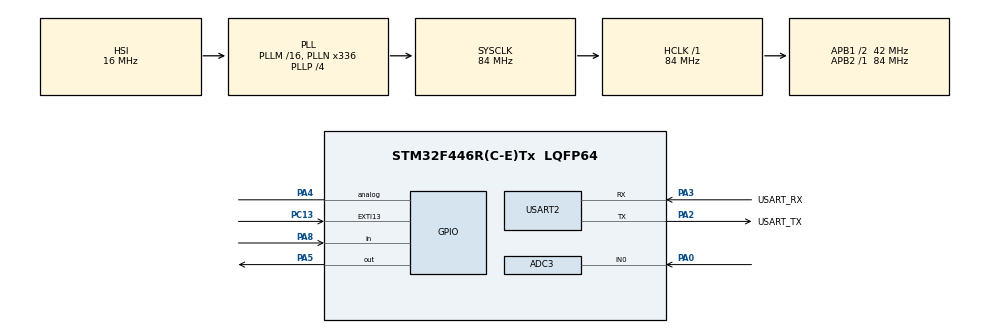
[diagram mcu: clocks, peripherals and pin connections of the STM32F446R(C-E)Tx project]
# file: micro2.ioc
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ADC3.Channel-1\#ChannelRegularConversion=ADC_CHANNEL_0
ADC3.NbrOfConversionFlag=1
ADC3.Rank-1\#ChannelRegularConversion=1
ADC3.SamplingTime-1\#ChannelRegularConversion=ADC_SAMPLETIME_3CYCLES
Mcu.Family=STM32F4
Mcu.Name=STM32F446R(C-E)Tx
Mcu.Package=LQFP64
NVIC.EXTI15_10_IRQn=true\:0\:0\:false\:false\:true\:true\:true\:true
NVIC.PriorityGroup=NVIC_PRIORITYGROUP_0
NVIC.USART2_IRQn=true\:0\:0\:false\:false\:true\:true\:true\:true
PA0-WKUP.Signal=ADCx_IN0
PA13.GPIO_Label=TMS
PA13.Mode=Serial_Wire
PA13.Signal=SYS_JTMS-SWDIO
PA14.GPIO_Label=TCK
PA14.Mode=Serial_Wire
PA14.Signal=SYS_JTCK-SWCLK
PA2.GPIO_Label=USART_TX
PA2.Mode=Asynchronous
PA2.Signal=USART2_TX
PA3.GPIO_Label=USART_RX
PA3.Mode=Asynchronous
PA3.Signal=USART2_RX
PA4.Signal=GPIO_Analog
PA5.Signal=GPIO_Output
PA8.Signal=GPIO_Input
PB3.GPIO_Label=SWO
PB3.Signal=SYS_JTDO-SWO
PC13.GPIO_ModeDefaultEXTI=GPIO_MODE_IT_FALLING
PC13.Signal=GPXTI13
PC14-OSC32_IN.Mode=LSE-External-Oscillator
PC14-OSC32_IN.Signal=RCC_OSC32_IN
PC15-OSC32_OUT.Mode=LSE-External-Oscillator
PC15-OSC32_OUT.Signal=RCC_OSC32_OUT
PH0-OSC_IN.Mode=HSE-External-Oscillator
PH0-OSC_IN.Signal=RCC_OSC_IN
PH1-OSC_OUT.Mode=HSE-External-Oscillator
PH1-OSC_OUT.Signal=RCC_OSC_OUT
ProjectManager.HeapSize=0x200
ProjectManager.StackSize=0x400
ProjectManager.TargetToolchain=STM32CubeIDE
RCC.48MHZClocksFreq_Value=84000000
RCC.AHBFreq_Value=84000000
RCC.APB1CLKDivider=RCC_HCLK_DIV2
RCC.APB1Freq_Value=42000000
RCC.APB1TimFreq_Value=84000000
RCC.APB2Freq_Value=84000000
RCC.APB2TimFreq_Value=84000000
RCC.CortexFreq_Value=84000000
RCC.FLatency-AdvancedSettings=FLASH_LATENCY_2
RCC.HCLKFreq_Value=84000000
RCC.HSE_VALUE=8000000
RCC.HSI_VALUE=16000000
RCC.PLLN=336
RCC.PLLP=RCC_PLLP_DIV4
RCC.SYSCLKFreq_VALUE=84000000
RCC.SYSCLKSource=RCC_SYSCLKSOURCE_PLLCLK
RCC.USBFreq_Value=168000000
RCC.VCOOutputFreq_Value=336000000
SH.ADCx_IN0.0=ADC3_IN0,IN0
USART2.VirtualMode=VM_ASYNC
board=NUCLEO-F446RE

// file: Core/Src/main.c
/* USER CODE BEGIN Header */
/**
  ******************************************************************************
  * @file           : main.c
  * @brief          : Main program body
  ******************************************************************************
  * @attention
  *
  * Copyright (c) 2024 STMicroelectronics.
  * All rights reserved.
  *
  * This software is licensed under terms that can be found in the LICENSE file
  * in the root directory of this software component.
  * If no LICENSE file comes with this software, it is provided AS-IS.
  *
  ******************************************************************************
  */
/* USER CODE END Header */
#include "main.h"

/* USER CODE BEGIN Includes */
#include <stdio.h>
#include <string.h>
#include <ctype.h>
/* USER CODE END Includes */

/* USER CODE BEGIN PD */
#define DOT_THRESHOLD   110     // Adjust according to your requirements
#define DASH_THRESHOLD  310     // Adjust according to your requirements
#define PAUSE_THRESHOLD 1000
#define PAUSE_THRESHOLD_HIGH 1050
#define PAUSE_THRESHOLD_LOW 950
#define GAP_THRESHOLD 1310
#define THRESHOLD_low (uint16_t)1300
#define THRESHOLD_high (uint16_t)1700
/* USER CODE END PD */

ADC_HandleTypeDef hadc3;

UART_HandleTypeDef huart2;

/* USER CODE BEGIN PV */
char rx_buffer[100] = "";

uint16_t adc_value = 0;
uint8_t received_byte = 0;
uint32_t startTime=0;
uint32_t notStartTime=0;
uint32_t endTime= 0;
uint32_t duration=0;

int MODE=0;
int rx_index =0;

int haveConverted = 0;

/* USER CODE END PV */

void SystemClock_Config(void);
static void MX_GPIO_Init(void);
static void MX_USART2_UART_Init(void);
static void MX_ADC3_Init(void);
/* USER CODE BEGIN PFP */
void decodeMorse(char* , int );
int isSoundSignalDetected();
int isLedSignalDetected();
/* USER CODE END PFP */

/* USER CODE BEGIN 0 */
#ifdef __GNUC__
/* With GCC/RAISONANCE, small printf (option LD Linker->Libraries->Small
printf
 set to 'Yes') calls __io_putchar() */
#define PUTCHAR_PROTOTYPE int __io_putchar(int ch)
#else
#define PUTCHAR_PROTOTYPE int fputc(int ch, FILE *f)
#endif /* __GNUC__ */
/* USER CODE END 0 */

int main(void)
{

  /* MCU Configuration--------------------------------------------------------*/

  /* Reset of all peripherals, Initializes the Flash interface and the Systick. */
  HAL_Init();

  /* Configure the system clock */
  SystemClock_Config();

  /* Initialize all configured peripherals */
  MX_GPIO_Init();
  MX_USART2_UART_Init();
  MX_ADC3_Init();
  /* USER CODE BEGIN 2 */
  printf("The program has correctly been loaded.\r\n");
  /* USER CODE END 2 */

  /* Infinite loop */
  /* USER CODE BEGIN WHILE */
  uint16_t led=1;
  while (1)
      {
	  if(MODE==1){ //Sound mode
		  notStartTime = HAL_GetTick();
		  int silence_duration = notStartTime - endTime;
		  if (!haveConverted && (silence_duration >= 2000 || rx_index >= sizeof(rx_buffer)))
		  {

			  // Decode the Morse code character
			  decodeMorse(rx_buffer, rx_index);
			  // Reset the message buffer index

			  for(int i=0;i<rx_index;i++){
				  rx_buffer[i] = '\0';
			  }
			  rx_index = 0;
			  haveConverted = 1;
		  }
		  /* Check for sound signal */
		  if (isSoundSignalDetected()) {
			  haveConverted = 0;
			  /* Record start time of signal */

			  if(silence_duration>500){
				  startTime = notStartTime;
			  } else {
				  rx_index--;
			  }
			  while (adc_value < THRESHOLD_low || adc_value > THRESHOLD_high) {
				  // Check if sound signal ended
				HAL_ADC_Start(&hadc3);
				HAL_ADC_PollForConversion(&hadc3, HAL_MAX_DELAY);
				adc_value = HAL_ADC_GetValue(&hadc3);//* (5.0 / 1023.0);
			  }

			  /* Record end time of signal */
			  endTime = HAL_GetTick();

			  /* Calculate duration of signal */
			  duration = (endTime - startTime);

			  /* test if the silence represent a pause between 2 characters*/
			  if (silence_duration > PAUSE_THRESHOLD_LOW && silence_duration < PAUSE_THRESHOLD_HIGH)
			  {
				  rx_buffer[rx_index] = ' ';
				  rx_index++;
			  }
			  /* test if the silence represent a pause between 2 words */
			  else if (silence_duration > PAUSE_THRESHOLD_HIGH && rx_index!=0)
			  {
				  rx_buffer[rx_index] = '/';
				  rx_index++;
			  }

			  /* test if the duration of the signal represent a dot*/
			  if (duration < DOT_THRESHOLD)
			  {
				  rx_buffer[rx_index] = '.';
				  rx_index++;
			  }
			  /* test if the duration of the signal represent a dash*/
			  else if (duration < DASH_THRESHOLD)
			  {
				  rx_buffer[rx_index] = '-';
				  rx_index++;
			  }
		  }
		  HAL_Delay(5);
		  HAL_ADC_Stop(&hadc3);
	  }
	  if(MODE==0){ //Led mode
		  if (!led) {
			  led=1;
			  while (led){ //waiting while the Led is off
				  led=HAL_GPIO_ReadPin(GPIOA, GPIO_PIN_8);
			  }
			  HAL_Delay(100); // When the led is on we wait a little more to calibrate
			  endTime = HAL_GetTick(); // recuperation of the time the led turn on again

			  /* Calculate duration of signal */
			  duration = endTime - startTime - 100; //getting the time the led was off
			  HAL_Delay(5);
			  if (duration> 290 && duration < 310) // 300ms is the time of a "."
			  {
				  rx_buffer[rx_index] = '.';
				  rx_index++;
			  }
			  else if (duration>390 &&duration < 410) // 400ms is the time of a "-"
			  {
				  rx_buffer[rx_index] = '-';
				  rx_index++;
			  }
			  else if (duration>490 &&duration < 510) //500ms is the time of a space between 2 character
			  {
				  rx_buffer[rx_index] = ' ';
				  rx_index++;
			  }
			  else if (duration>590 &&duration < 610) //600ms is the time of a space between 2 words
			  {
				  rx_buffer[rx_index] = '/';
				  rx_index++;
			  }
			  else
			  {
				  // Decode the Morse code character
				  decodeMorse(rx_buffer, rx_index);
				  // Reset the message buffer index

				  for(int i=0;i<rx_index;i++){
					  rx_buffer[i] = '\0';
				  }
				  rx_index = 0;
			  }
			  startTime = endTime;
		  }
		  else{
			  led = HAL_GPIO_ReadPin(GPIOA, GPIO_PIN_8);
			  HAL_Delay(100); // Wait for the moment the Led turn off
			  startTime = HAL_GetTick();
		  }
	  }
   }
}

  /* Function to detect the presence of a sound signal */
	int isSoundSignalDetected() {
		HAL_ADC_Start(&hadc3);
	  	HAL_ADC_PollForConversion(&hadc3, HAL_MAX_DELAY);

	    // Read the analog input from the sound sensor using the ADC
		//HAL_ADC_PollForConversion(&hadc3, 100);
	    adc_value = HAL_ADC_GetValue(&hadc3);//* (5.0 / 1023.0); // Example ADC reading

        /* Wait for sound signal to end */
        HAL_ADC_Stop(&hadc3);

	    // Analyze the ADC value to determine if a sound signal is detected
        if (adc_value < THRESHOLD_low || adc_value > THRESHOLD_high) {
	        return 1; // Sound signal detected
	    } else {
	    	return 0; // No sound signal detected
		}
  }

	int isLedSignalDetected() {
		return !HAL_GPIO_ReadPin(GPIOA, GPIO_PIN_1);
  }

	void decodeMorse(char *message, int length)
	  {
	      //printf("%s\r\n", message);
		  char* morseAlphabet[] = {     "......", ".....-", "....-.", "....--", "...-..", "...-.-", "...--.", "...---", "..-...", "..-..-",
				    "..-.-.", "..-.--", "..--..", "..--.-", "..----", ".-....", ".-...-", ".-..-.", ".-..--", ".-.-..",
				    ".-.-.-", ".-.--.", ".-.---", ".--...", ".--..-", ".--.-.", ".--.--", ".---..", ".---.-", ".----.",
				    ".-----", "-.....", "-....-", "-...-.", "-...--", "-..-.."};

	      char alphabet[] = "ABCDEFGHIJKLMNOPQRSTUVWXYZ0123456789";
	      char decoded_message[length + 1]; // Maximum possible length of decoded message

	      int decoded_index = 0; // Index to keep track of the position in the decoded message
	      int k;
	      int i=0;

	      while(i<length){
			  k=0;
			  decoded_index = 0;
	    	  if (message[i] == ' '){
	    		  i++;
	    	  }
	    	  else if (message[i] == '/'){
		    		printf(" ");
	    		    i++;
	    	  }
	    	  else{
	    		  for(decoded_index=0;decoded_index<6;decoded_index++){
	    			  decoded_message[decoded_index] = message[i];
	    			  i++;
	    		  }
				  while(k < sizeof(morseAlphabet) / sizeof(morseAlphabet[0]) && strcmp(decoded_message, morseAlphabet[k]) != 0){
					k++;
				  }
				  printf("%c",alphabet[k]);
	    	  }
	      }
	      printf("\r\n");
	  }

  PUTCHAR_PROTOTYPE
  {
  /* Place your implementation of fputc here */
  /* e.g. write a character to the USART2 and Loop until the end of
  transmission */
  HAL_UART_Transmit(&huart2, (uint8_t *)&ch, 1, 0xFFFF);
  return ch;
  }
void SystemClock_Config(void)
{
  RCC_OscInitTypeDef RCC_OscInitStruct = {0};
  RCC_ClkInitTypeDef RCC_ClkInitStruct = {0};

  /** Configure the main internal regulator output voltage
  */
  __HAL_RCC_PWR_CLK_ENABLE();
  __HAL_PWR_VOLTAGESCALING_CONFIG(PWR_REGULATOR_VOLTAGE_SCALE3);

  /** Initializes the RCC Oscillators according to the specified parameters
  * in the RCC_OscInitTypeDef structure.
  */
  RCC_OscInitStruct.OscillatorType = RCC_OSCILLATORTYPE_HSI;
  RCC_OscInitStruct.HSIState = RCC_HSI_ON;
  RCC_OscInitStruct.HSICalibrationValue = RCC_HSICALIBRATION_DEFAULT;
  RCC_OscInitStruct.PLL.PLLState = RCC_PLL_ON;
  RCC_OscInitStruct.PLL.PLLSource = RCC_PLLSOURCE_HSI;
  RCC_OscInitStruct.PLL.PLLM = 16;
  RCC_OscInitStruct.PLL.PLLN = 336;
  RCC_OscInitStruct.PLL.PLLP = RCC_PLLP_DIV4;
  RCC_OscInitStruct.PLL.PLLQ = 2;
  RCC_OscInitStruct.PLL.PLLR = 2;
  if (HAL_RCC_OscConfig(&RCC_OscInitStruct) != HAL_OK)
  {
    Error_Handler();
  }

  /** Initializes the CPU, AHB and APB buses clocks
  */
  RCC_ClkInitStruct.ClockType = RCC_CLOCKTYPE_HCLK|RCC_CLOCKTYPE_SYSCLK
                              |RCC_CLOCKTYPE_PCLK1|RCC_CLOCKTYPE_PCLK2;
  RCC_ClkInitStruct.SYSCLKSource = RCC_SYSCLKSOURCE_PLLCLK;
  RCC_ClkInitStruct.AHBCLKDivider = RCC_SYSCLK_DIV1;
  RCC_ClkInitStruct.APB1CLKDivider = RCC_HCLK_DIV2;
  RCC_ClkInitStruct.APB2CLKDivider = RCC_HCLK_DIV1;

  if (HAL_RCC_ClockConfig(&RCC_ClkInitStruct, FLASH_LATENCY_2) != HAL_OK)
  {
    Error_Handler();
  }
}

static void MX_ADC3_Init(void)
{

  ADC_ChannelConfTypeDef sConfig = {0};

  /** Configure the global features of the ADC (Clock, Resolution, Data Alignment and number of conversion)
  */
  hadc3.Instance = ADC3;
  hadc3.Init.ClockPrescaler = ADC_CLOCK_SYNC_PCLK_DIV4;
  hadc3.Init.Resolution = ADC_RESOLUTION_12B;
  hadc3.Init.ScanConvMode = DISABLE;
  hadc3.Init.ContinuousConvMode = DISABLE;
  hadc3.Init.DiscontinuousConvMode = DISABLE;
  hadc3.Init.ExternalTrigConvEdge = ADC_EXTERNALTRIGCONVEDGE_NONE;
  hadc3.Init.ExternalTrigConv = ADC_SOFTWARE_START;
  hadc3.Init.DataAlign = ADC_DATAALIGN_RIGHT;
  hadc3.Init.NbrOfConversion = 1;
  hadc3.Init.DMAContinuousRequests = DISABLE;
  hadc3.Init.EOCSelection = ADC_EOC_SINGLE_CONV;
  if (HAL_ADC_Init(&hadc3) != HAL_OK)
  {
    Error_Handler();
  }

  /** Configure for the selected ADC regular channel its corresponding rank in the sequencer and its sample time.
  */
  sConfig.Channel = ADC_CHANNEL_0;
  sConfig.Rank = 1;
  sConfig.SamplingTime = ADC_SAMPLETIME_3CYCLES;
  if (HAL_ADC_ConfigChannel(&hadc3, &sConfig) != HAL_OK)
  {
    Error_Handler();
  }

}

static void MX_USART2_UART_Init(void)
{

  huart2.Instance = USART2;
  huart2.Init.BaudRate = 115200;
  huart2.Init.WordLength = UART_WORDLENGTH_8B;
  huart2.Init.StopBits = UART_STOPBITS_1;
  huart2.Init.Parity = UART_PARITY_NONE;
  huart2.Init.Mode = UART_MODE_TX_RX;
  huart2.Init.HwFlowCtl = UART_HWCONTROL_NONE;
  huart2.Init.OverSampling = UART_OVERSAMPLING_16;
  if (HAL_UART_Init(&huart2) != HAL_OK)
  {
    Error_Handler();
  }

}

static void MX_GPIO_Init(void)
{
  GPIO_InitTypeDef GPIO_InitStruct = {0};

  /* GPIO Ports Clock Enable */
  __HAL_RCC_GPIOC_CLK_ENABLE();
  __HAL_RCC_GPIOH_CLK_ENABLE();
  __HAL_RCC_GPIOA_CLK_ENABLE();
  __HAL_RCC_GPIOB_CLK_ENABLE();

  /*Configure GPIO pin Output Level */
  HAL_GPIO_WritePin(GPIOA, GPIO_PIN_5, GPIO_PIN_RESET);

  /*Configure GPIO pin : PC13 */
  GPIO_InitStruct.Pin = GPIO_PIN_13;
  GPIO_InitStruct.Mode = GPIO_MODE_IT_FALLING;
  GPIO_InitStruct.Pull = GPIO_NOPULL;
  HAL_GPIO_Init(GPIOC, &GPIO_InitStruct);

  /*Configure GPIO pin : PA4 */
  GPIO_InitStruct.Pin = GPIO_PIN_4;
  GPIO_InitStruct.Mode = GPIO_MODE_ANALOG;
  GPIO_InitStruct.Pull = GPIO_NOPULL;
  HAL_GPIO_Init(GPIOA, &GPIO_InitStruct);

  /*Configure GPIO pin : PA5 */
  GPIO_InitStruct.Pin = GPIO_PIN_5;
  GPIO_InitStruct.Mode = GPIO_MODE_OUTPUT_PP;
  GPIO_InitStruct.Pull = GPIO_NOPULL;
  GPIO_InitStruct.Speed = GPIO_SPEED_FREQ_LOW;
  HAL_GPIO_Init(GPIOA, &GPIO_InitStruct);

  /*Configure GPIO pin : PA8 */
  GPIO_InitStruct.Pin = GPIO_PIN_8;
  GPIO_InitStruct.Mode = GPIO_MODE_INPUT;
  GPIO_InitStruct.Pull = GPIO_NOPULL;
  HAL_GPIO_Init(GPIOA, &GPIO_InitStruct);

  /* EXTI interrupt init*/
  HAL_NVIC_SetPriority(EXTI15_10_IRQn, 0, 0);
  HAL_NVIC_EnableIRQ(EXTI15_10_IRQn);

}

void Error_Handler(void)
{
    __disable_irq();
    while (1)
    {
    }
}
